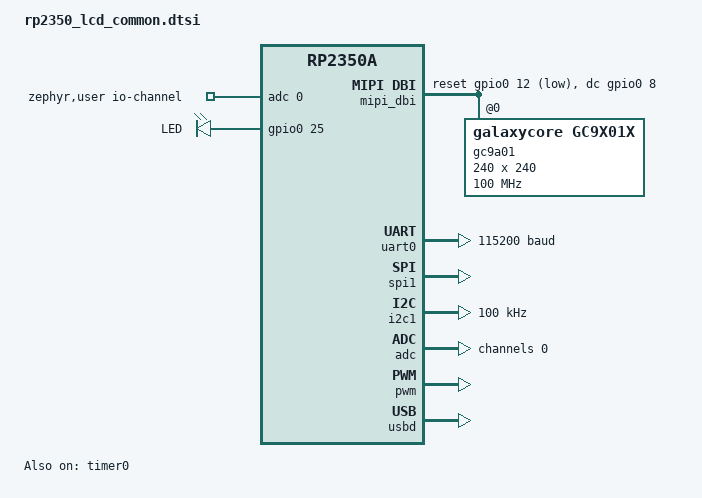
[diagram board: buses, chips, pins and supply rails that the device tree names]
/*
 * Copyright (c) 2025 Jared Woolston
 *
 * SPDX-License-Identifier: Apache-2.0
 */

#include <freq.h>

#include <raspberrypi/rpi_pico/rp2350a.dtsi>
#include <raspberrypi/rpi_pico/m33.dtsi>

#include <zephyr/dt-bindings/i2c/i2c.h>
#include <zephyr/dt-bindings/pwm/pwm.h>
#include <zephyr/dt-bindings/display/panel.h>
#include <zephyr/dt-bindings/input/input-event-codes.h>

#include "../common/rp2350_lcd-pinctrl.dtsi"

/ {
	aliases {
		led0 = &led0;
		pwm-lcd0 = &pwm_led0;
		watchdog0 = &wdt0;
	};

	zephyr,user {
		io-channels = <&adc 0>;
	};

	chosen {
		zephyr,sram = &sram0;
		zephyr,flash = &flash0;
		zephyr,console = &uart0;
		zephyr,shell-uart = &uart0;
		zephyr,code-partition = &code_partition;
		zephyr,display = &gc9a01;
	};

	leds {
		compatible = "gpio-leds";

		led0: led_0 {
			gpios = <&gpio0 25 GPIO_ACTIVE_HIGH>;
			label = "LED";
		};
	};

	pwm_leds {
		compatible = "pwm-leds";
		status = "disabled";

		pwm_led0: pwm_led_0 {
			pwms = <&pwm 9 PWM_MSEC(20) PWM_POLARITY_NORMAL>;
			label = "PWM_LED";
		};
	};

	/* MIPI DBI */
	mipi_dbi {
		compatible = "zephyr,mipi-dbi-spi";
		spi-dev = <&spi1>;
		dc-gpios = <&gpio0 8 GPIO_ACTIVE_HIGH>;
		reset-gpios = <&gpio0 12 GPIO_ACTIVE_LOW>;
		write-only;
		#address-cells = <1>;
		#size-cells = <0>;

		gc9a01: gc9a01@0 {
			status = "okay";
			compatible = "galaxycore,gc9x01x";
			reg = <0>;
			mipi-max-frequency = <100000000>;
			pixel-format = <PANEL_PIXEL_FORMAT_RGB_565>;
			display-inversion;
			width = <240>;
			height = <240>;
		};
	};
};

&uart0 {
	current-speed = <115200>;
	status = "okay";
	pinctrl-0 = <&uart0_default>;
	pinctrl-names = "default";
};

&gpio0 {
	status = "okay";
};

&spi1 {
	status = "okay";
	#address-cells = <1>;
	#size-cells = <0>;
	pinctrl-0 = <&spi1_default>;
	pinctrl-names = "default";
	cs-gpios = <&gpio0 9 GPIO_ACTIVE_LOW>;
};

&i2c1 {
	clock-frequency = <I2C_BITRATE_STANDARD>;
	pinctrl-0 = <&i2c1_default>;
	pinctrl-names = "default";
	status = "okay";
};

&adc {
	pinctrl-0 = <&adc_default>;
	pinctrl-names = "default";
	status = "okay";

	#address-cells = <1>;
	#size-cells = <0>;

	channel@0 {
		reg = <0>;
		zephyr,gain = "ADC_GAIN_1";
		zephyr,reference = "ADC_REF_INTERNAL";
		zephyr,acquisition-time = <ADC_ACQ_TIME_DEFAULT>;
		zephyr,resolution = <12>;
	};
};

&pwm {
	pinctrl-0 = <&pwm_ch4b_default>;
	pinctrl-names = "default";
	divider-int-0 = <255>;
	divider-int-4 = <255>;
	status = "okay";
};

&timer0 {
	status = "okay";
};

zephyr_udc0: &usbd {
	status = "okay";
};

pico_serial: &uart0 {};
